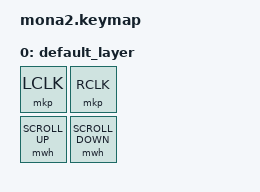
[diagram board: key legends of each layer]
#include <behaviors.dtsi>
#include <dt-bindings/zmk/keys.h>
#include <dt-bindings/zmk/bt.h>
#include <dt-bindings/zmk/outputs.h>
#include <dt-bindings/zmk/mouse.h>

/ {
    keymap {
        compatible = "zmk,keymap";

        default_layer {
            bindings = <
                &mkp LCLK &mkp RCLK
                &mwh SCROLL_UP &mwh SCROLL_DOWN
            >;
        };
    };
};
